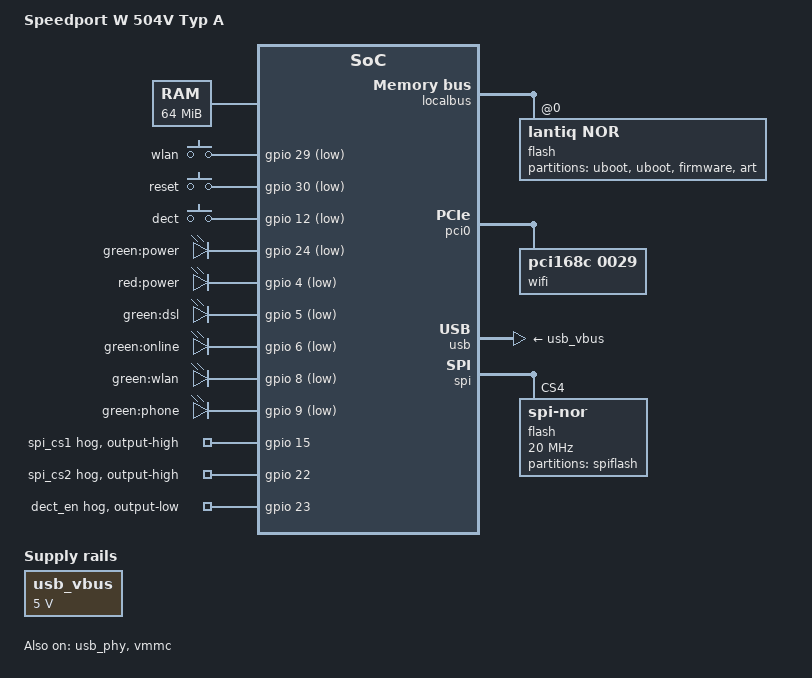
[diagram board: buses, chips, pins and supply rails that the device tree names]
#include "danube.dtsi"

#include <dt-bindings/input/input.h>

/ {
	compatible = "arcadyan,arv8539pw22", "lantiq,xway", "lantiq,danube";
	model = "Speedport W 504V Typ A";

	chosen {
		bootargs = "console=ttyLTQ0,115200";
	};

	aliases {
		led-boot = &power_green;
		led-failsafe = &power_red;
		led-running = &power_green;
		led-upgrade = &power_green;

		led-dsl = &dsl_green;
		led-internet = &online_green;
		led-wifi = &wireless_green;
	};

	memory@0 {
		device_type = "memory";
		reg = <0x0 0x4000000>;
	};

	keys {
		compatible = "gpio-keys-polled";
		poll-interval = <100>;

		wlan {
			label = "wlan";
			gpios = <&gpio 29 GPIO_ACTIVE_LOW>;
			linux,code = <KEY_WPS_BUTTON>;
		};
		reset {
			label = "reset";
			gpios = <&gpio 30 GPIO_ACTIVE_LOW>;
			linux,code = <KEY_RESTART>;
		};
		dect {
			label = "dect";
			gpios = <&gpio 12 GPIO_ACTIVE_LOW>;
			linux,code = <KEY_RFKILL>;
		};
	};

	leds {
		compatible = "gpio-leds";

		power_green: power-green {
			label = "green:power";
			gpios = <&gpio 24 GPIO_ACTIVE_LOW>;
			default-state = "keep";
		};
		power_red: power-red {
			label = "red:power";
			gpios = <&gpio 4 GPIO_ACTIVE_LOW>;
		};

		dsl_green: dsl-green {
			label = "green:dsl";
			gpios = <&gpio 5 GPIO_ACTIVE_LOW>;
		};

		online_green: online-green {
			label = "green:online";
			gpios = <&gpio 6 GPIO_ACTIVE_LOW>;
		};

		wireless_green: wireless-green {
			label = "green:wlan";
			gpios = <&gpio 8 GPIO_ACTIVE_LOW>;
		};
		phone_green: phone-green {
			label = "green:phone";
			gpios = <&gpio 9 GPIO_ACTIVE_LOW>;
		};
	};

	usb_vbus: regulator-usb-vbus {
		compatible = "regulator-fixed";

		regulator-name = "USB_VBUS";

		regulator-min-microvolt = <5000000>;
		regulator-max-microvolt = <5000000>;
	};
};

&gpio {
	spi_cs1 {
		gpio-hog;
		gpios = <15 GPIO_ACTIVE_HIGH>;
		output-high;
	};
	spi_cs2 {
		gpio-hog;
		gpios = <22 GPIO_ACTIVE_HIGH>;
		output-high;
	};
	dect_en {
		gpio-hog;
		gpios = <23 GPIO_ACTIVE_HIGH>;
		output-low;
	};
};

&gsw {
	phy-mode = "mii";
	mtd-mac-address = <&art 0x16>;
};

&localbus {
	flash@0 {
		compatible = "lantiq,nor";
		bank-width = <2>;
		reg = <0 0x0 0x800000>;

		partitions {
			compatible = "fixed-partitions";
			#address-cells = <1>;
			#size-cells = <1>;

			partition@0 {
				label = "uboot";
				reg = <0x00000 0x30000>;	/* 192 KiB */
				read-only;
			};

			partition@30000 {
				label = "uboot";
				reg = <0x30000 0x10000>;	/* 64 KiB */
				read-only;
			};

			partition@40000 {
				label = "firmware";
				reg = <0x40000 0x7b0000>;       /* 7872 KiB */
			};

			art: partition@7f0000 {
				label = "art";
				reg = <0x7f0000 0x10000>;       /* 64 KiB*/
				read-only;
			};
		};
	};
};

&pci0 {
	status = "okay";

	pinctrl-0 = <&pci_gnt1_pins>, <&pci_req1_pins>;
	pinctrl-names = "default";

	gpio-reset = <&gpio 21 GPIO_ACTIVE_HIGH>;

	wifi@168c,0029 {
		compatible = "pci168c,0029";
		reg = <0x7000 0 0 0 0>;
		qca,no-eeprom; /* load from ath9k-eeprom-pci-0000:00:0e.0.bin */
		mtd-mac-address = <&art 0x16>;
		mtd-mac-address-increment = <1>;
	};
};

&usb_phy {
	status = "okay";
};

&usb {
	status = "okay";
	vbus-supply = <&usb_vbus>;
};

&spi {
	status = "ok";
	flash@4 {
		compatible = "jedec,spi-nor";
		reg = <4>;
		spi-max-frequency = <20000000>;

		partitions {
			compatible = "fixed-partitions";
			#address-cells = <1>;
			#size-cells = <1>;

			partition@0 {
				reg = <0x0 0x800000>;
				label = "spiflash";
			};
		};
	};
};

&vmmc {
	status = "okay";
	gpios = <&gpio 31 GPIO_ACTIVE_HIGH>;
};
